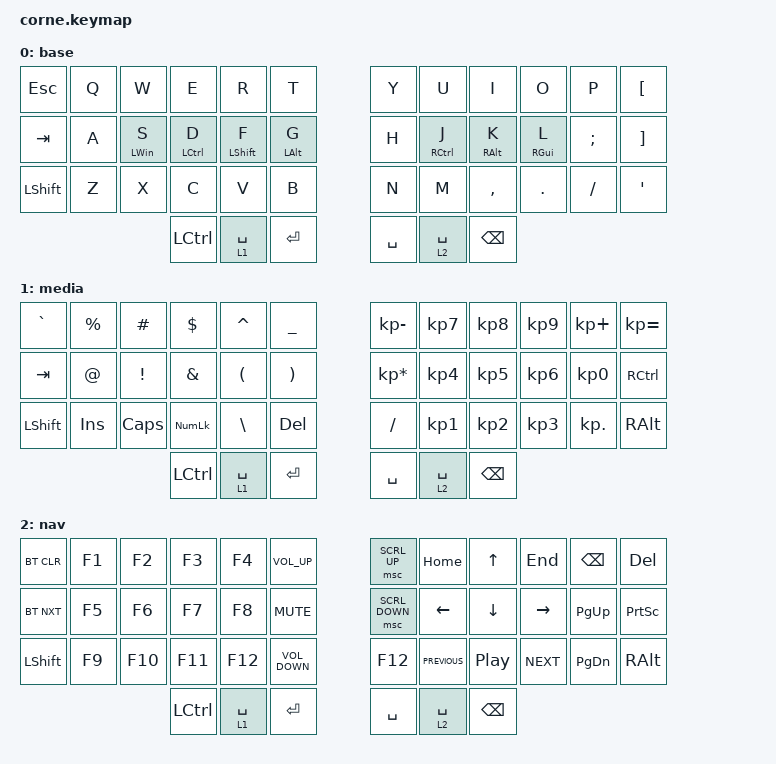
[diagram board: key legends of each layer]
/*
 * Copyright (c) 2020 The ZMK Contributors
 *
 * SPDX-License-Identifier: MIT
 */

#define ZMK_POINTING_DEFAULT_MOVE_VAL 1500  // default: 600
#define ZMK_POINTING_DEFAULT_SCRL_VAL 20    // default: 10

#include <behaviors.dtsi>
#include <dt-bindings/zmk/bt.h>
#include <dt-bindings/zmk/keys.h>
#include <dt-bindings/zmk/pointing.h>

/ {
    combos {
        compatible = "zmk,combos";

        lp {
            bindings = <&kp RS(LEFT_PARENTHESIS)>;
            key-positions = <4 5>;
        };

        rp {
            bindings = <&kp RIGHT_PARENTHESIS>;
            key-positions = <6 7>;
        };

        lbracket {
            bindings = <&kp LEFT_BRACKET>;
            key-positions = <16 17>;
        };

        rbracket {
            bindings = <&kp RIGHT_BRACKET>;
            key-positions = <18 19>;
        };

        lbrace {
            bindings = <&kp LEFT_BRACE>;
            key-positions = <28 29>;
        };

        rbrace {
            bindings = <&kp RIGHT_BRACE>;
            key-positions = <30 31>;
        };

        stick {
            bindings = <&kp PIPE>;
            key-positions = <8 9>;
        };
    };

    behaviors {
        hml: hml {
            compatible = "zmk,behavior-hold-tap";
            label = "HML";
            bindings = <&kp>, <&kp>;

            #binding-cells = <2>;
            tapping-term-ms = <220>;
            quick-tap-ms = <175>;
            flavor = "balanced";
            require-prior-idle-ms = <100>;
            hold-trigger-key-positions = <39 40 41 30 18 6 7 9 10 11 18 19 20 21 22 23 30 31 32 33 34 35 40 41 8 36 37 38>;
            hold-trigger-on-release;
        };

        hmr: hmr {
            compatible = "zmk,behavior-hold-tap";
            label = "HMR";
            bindings = <&kp>, <&kp>;

            #binding-cells = <2>;
            tapping-term-ms = <220>;
            quick-tap-ms = <175>;
            require-prior-idle-ms = <100>;
            flavor = "balanced";
            hold-trigger-key-positions = <0 1 2 3 4 5 12 13 14 15 16 17 24 25 26 27 28 29 36 37 38 39 40 41>;
            hold-trigger-on-release;
        };

        tkl: tkl {
            compatible = "zmk,behavior-hold-tap";
            label = "TKL";
            bindings = <&mo>, <&kp>;

            #binding-cells = <2>;
            tapping-term-ms = <220>;
            quick-tap-ms = <175>;
            flavor = "balanced";
            require-prior-idle-ms = <100>;
            hold-trigger-key-positions = <39 40 41 30 18 6 7 9 10 11 18 19 20 21 22 23 30 31 32 33 34 35 40 41 8 38 37 36>;
            hold-trigger-on-release;
        };

        tkr: tkr {
            compatible = "zmk,behavior-hold-tap";
            label = "TKR";
            bindings = <&mo>, <&kp>;

            #binding-cells = <2>;
            tapping-term-ms = <220>;
            quick-tap-ms = <175>;
            require-prior-idle-ms = <100>;
            flavor = "balanced";
            hold-trigger-key-positions = <0 1 2 3 4 5 12 13 14 15 16 17 24 25 26 27 28 29 36 37 38 39 40 41>;
            hold-trigger-on-release;
        };
    };

    keymap {
        compatible = "zmk,keymap";

        base {
            // -----------------------------------------------------------------------------------------
            // |  TAB |  Q  |  W  |  E  |  R  |  T  |   |  Y  |  U   |  I  |  O  |  P  | BKSP |
            // | CTRL |  A  |  S  |  D  |  F  |  G  |   |  H  |  J   |  K  |  L  |  ;  |  '   |
            // | SHFT |  Z  |  X  |  C  |  V  |  B  |   |  N  |  M   |  ,  |  .  |  /  | ESC  |
            //                    | GUI | LWR | SPC |   | ENT | RSE  | ALT |

            bindings = <
&kp ESCAPE      &kp Q  &kp W           &kp E        &kp R             &kp T             &kp Y      &kp U        &kp I            &kp O            &kp P          &kp LEFT_BRACKET
&kp TAB         &kp A  &mt LEFT_WIN S  &mt LCTRL D  &mt LEFT_SHIFT F  &mt LEFT_ALT G    &kp H      &mt RCTRL J  &mt RIGHT_ALT K  &mt RIGHT_GUI L  &kp SEMICOLON  &kp RIGHT_BRACKET
&kp LEFT_SHIFT  &kp Z  &kp X           &kp C        &kp V             &kp B             &kp N      &kp M        &kp COMMA        &kp DOT          &kp FSLH       &kp SQT
                                       &kp LCTRL    &lt 1 SPACE       &kp ENTER         &kp SPACE  &lt 2 SPACE  &kp BACKSPACE
            >;
        };

        media {
            bindings = <
&kp GRAVE  &kp PERCENT  &kp POUND        &kp DOLLAR      &kp CARET             &kp UNDERSCORE           &kp KP_MINUS     &kp KP_NUMBER_7  &kp KP_NUMBER_8  &kp KP_NUMBER_9  &kp KP_PLUS      &kp KP_EQUAL
&kp TAB    &kp AT_SIGN  &kp EXCLAMATION  &kp AMPERSAND   &kp LEFT_PARENTHESIS  &kp RIGHT_PARENTHESIS    &kp KP_MULTIPLY  &kp KP_NUMBER_4  &kp KP_NUMBER_5  &kp KP_NUMBER_6  &kp KP_NUMBER_0  &kp RCTRL
&kp LSHFT  &kp INSERT   &kp CAPS         &kp KP_NUMLOCK  &kp BSLH              &kp DEL                  &kp SLASH        &kp KP_NUMBER_1  &kp KP_NUMBER_2  &kp KP_NUMBER_3  &kp KP_DOT       &kp RALT
                                         &kp LCTRL       &lt 1 SPACE           &kp ENTER                &kp SPACE        &lt 2 SPACE      &kp BACKSPACE
            >;
        };

        nav {
            bindings = <
&bt BT_CLR      &kp F1  &kp F2   &kp F3     &kp F4       &kp C_VOLUME_UP      &msc SCRL_UP    &kp HOME        &kp UP            &kp END     &kp BACKSPACE  &kp DEL
&bt BT_NXT      &kp F5  &kp F6   &kp F7     &kp F8       &kp C_MUTE           &msc SCRL_DOWN  &kp LEFT_ARROW  &kp DOWN          &kp RIGHT   &kp PAGE_UP    &kp PRINTSCREEN
&kp LEFT_SHIFT  &kp F9  &kp F10  &kp F11    &kp F12      &kp C_VOLUME_DOWN    &kp F12         &kp C_PREVIOUS  &kp C_PLAY_PAUSE  &kp C_NEXT  &kp PAGE_DOWN  &kp RALT
                                 &kp LCTRL  &lt 1 SPACE  &kp ENTER            &kp SPACE       &lt 2 SPACE     &kp BACKSPACE
            >;
        };
    };
};
